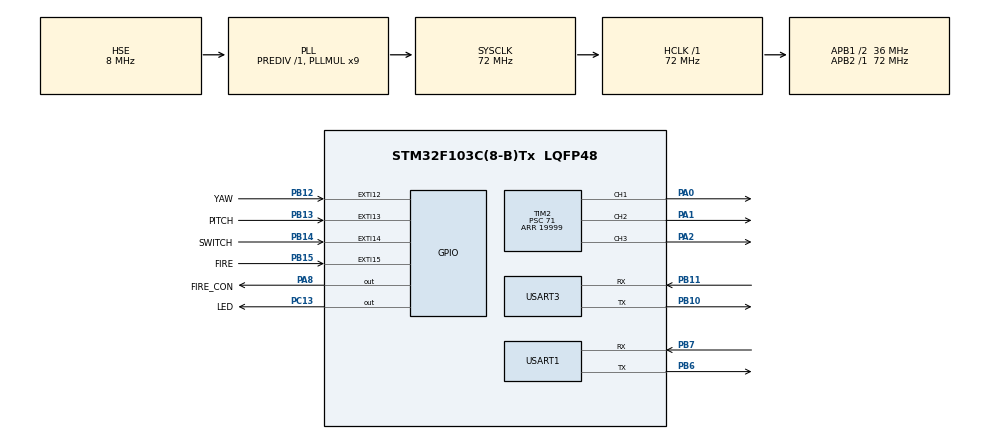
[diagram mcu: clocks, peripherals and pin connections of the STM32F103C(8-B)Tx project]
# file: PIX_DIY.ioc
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Dma.Request0=USART3_RX
Dma.USART3_RX.0.Direction=DMA_PERIPH_TO_MEMORY
Dma.USART3_RX.0.Instance=DMA1_Channel3
Dma.USART3_RX.0.MemDataAlignment=DMA_MDATAALIGN_BYTE
Dma.USART3_RX.0.MemInc=DMA_MINC_ENABLE
Dma.USART3_RX.0.Mode=DMA_CIRCULAR
Dma.USART3_RX.0.PeriphDataAlignment=DMA_PDATAALIGN_BYTE
Dma.USART3_RX.0.PeriphInc=DMA_PINC_DISABLE
Dma.USART3_RX.0.Priority=DMA_PRIORITY_LOW
Mcu.Family=STM32F1
Mcu.Name=STM32F103C(8-B)Tx
Mcu.Package=LQFP48
NVIC.DMA1_Channel3_IRQn=true\:0\:0\:false\:false\:true\:false\:true
NVIC.EXTI15_10_IRQn=true\:0\:0\:true\:false\:true\:true\:true
NVIC.PriorityGroup=NVIC_PRIORITYGROUP_3
NVIC.TIM2_IRQn=true\:1\:0\:true\:false\:true\:true\:true
NVIC.TIM4_IRQn=true\:0\:0\:false\:false\:true\:false\:true
NVIC.TimeBase=TIM4_IRQn
NVIC.TimeBaseIP=TIM4
NVIC.USART1_IRQn=true\:0\:0\:false\:false\:true\:true\:true
NVIC.USART3_IRQn=true\:0\:0\:false\:false\:true\:true\:true
PA0-WKUP.Signal=S_TIM2_CH1_ETR
PA1.Signal=S_TIM2_CH2
PA13.Mode=Serial_Wire
PA13.Signal=SYS_JTMS-SWDIO
PA14.Mode=Serial_Wire
PA14.Signal=SYS_JTCK-SWCLK
PA2.Signal=S_TIM2_CH3
PA8.GPIO_Label=FIRE_CON
PA8.PinState=GPIO_PIN_RESET
PA8.Signal=GPIO_Output
PB10.Mode=Asynchronous
PB10.Signal=USART3_TX
PB11.Mode=Asynchronous
PB11.Signal=USART3_RX
PB12.GPIO_Label=YAW
PB12.GPIO_PuPd=GPIO_PULLDOWN
PB12.Signal=GPXTI12
PB13.GPIO_Label=PITCH
PB13.GPIO_PuPd=GPIO_PULLDOWN
PB13.Signal=GPXTI13
PB14.GPIO_Label=SWITCH
PB14.GPIO_PuPd=GPIO_PULLDOWN
PB14.Signal=GPXTI14
PB15.GPIO_Label=FIRE
PB15.GPIO_PuPd=GPIO_PULLDOWN
PB15.Signal=GPXTI15
PB6.Mode=Asynchronous
PB6.Signal=USART1_TX
PB7.Mode=Asynchronous
PB7.Signal=USART1_RX
PC13-TAMPER-RTC.GPIO_Label=LED
PC13-TAMPER-RTC.PinState=GPIO_PIN_SET
PC13-TAMPER-RTC.Signal=GPIO_Output
PD0-OSC_IN.Mode=HSE-External-Oscillator
PD0-OSC_IN.Signal=RCC_OSC_IN
PD1-OSC_OUT.Mode=HSE-External-Oscillator
PD1-OSC_OUT.Signal=RCC_OSC_OUT
ProjectManager.HeapSize=0x200
ProjectManager.StackSize=0x400
ProjectManager.TargetToolchain=MDK-ARM V5
RCC.AHBFreq_Value=72000000
RCC.APB1CLKDivider=RCC_HCLK_DIV2
RCC.APB1Freq_Value=36000000
RCC.APB1TimFreq_Value=72000000
RCC.APB2Freq_Value=72000000
RCC.APB2TimFreq_Value=72000000
RCC.HCLKFreq_Value=72000000
RCC.PLLMUL=RCC_PLL_MUL9
RCC.PLLSourceVirtual=RCC_PLLSOURCE_HSE
RCC.SYSCLKFreq_VALUE=72000000
RCC.SYSCLKSource=RCC_SYSCLKSOURCE_PLLCLK
RCC.USBFreq_Value=72000000
SH.S_TIM2_CH1_ETR.0=TIM2_CH1,PWM Generation1 CH1
SH.S_TIM2_CH2.0=TIM2_CH2,PWM Generation2 CH2
SH.S_TIM2_CH3.0=TIM2_CH3,PWM Generation3 CH3
TIM2.AutoReloadPreload=TIM_AUTORELOAD_PRELOAD_ENABLE
TIM2.Channel-PWM\ Generation1\ CH1=TIM_CHANNEL_1
TIM2.Channel-PWM\ Generation2\ CH2=TIM_CHANNEL_2
TIM2.Channel-PWM\ Generation3\ CH3=TIM_CHANNEL_3
TIM2.Period=19999
TIM2.Prescaler=71
TIM2.Pulse-PWM\ Generation1\ CH1=1000
TIM2.Pulse-PWM\ Generation2\ CH2=1000
TIM2.Pulse-PWM\ Generation3\ CH3=1000
USART1.VirtualMode=VM_ASYNC
USART3.VirtualMode=VM_ASYNC
VP_SYS_VS_tim4.Mode=TIM4
VP_TIM2_VS_ClockSourceINT.Mode=Internal
board=custom

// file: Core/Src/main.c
/* USER CODE BEGIN Header */
/**
  ******************************************************************************
  * @file           : main.c
  * @brief          : Main program body
  ******************************************************************************
  * @attention
  *
  * <h2><center>&copy; Copyright (c) 2020 STMicroelectronics.
  * All rights reserved.</center></h2>
  *
  * This software component is licensed by ST under BSD 3-Clause license,
  * the "License"; You may not use this file except in compliance with the
  * License. You may obtain a copy of the License at:
  *                        opensource.org/licenses/BSD-3-Clause
  *
  ******************************************************************************
  */
/* USER CODE END Header */

#include "main.h"
#include "dma.h"
#include "tim.h"
#include "usart.h"
#include "gpio.h"

/* USER CODE BEGIN Includes */
#include <stdio.h>
#include <string.h>
/* USER CODE END Includes */

void SystemClock_Config(void);
/* USER CODE BEGIN PFP */

#define PITCH_READ  HAL_GPIO_ReadPin(PITCH_GPIO_Port, PITCH_Pin)
#define YAW_READ  HAL_GPIO_ReadPin(YAW_GPIO_Port, YAW_Pin)
#define SWITCH_READ  HAL_GPIO_ReadPin(SWITCH_GPIO_Port, SWITCH_Pin)
#define FIRE_READ  HAL_GPIO_ReadPin(FIRE_GPIO_Port, FIRE_Pin)
#define FIRE_OFF HAL_GPIO_WritePin(FIRE_CON_GPIO_Port, FIRE_CON_Pin, GPIO_PIN_RESET)
#define FIRE_ON HAL_GPIO_WritePin(FIRE_CON_GPIO_Port, FIRE_CON_Pin, GPIO_PIN_SET)

#define PITCH_CON(value) __HAL_TIM_SET_COMPARE(&htim2,TIM_CHANNEL_1,value)
#define YAW_CON(value) __HAL_TIM_SET_COMPARE(&htim2,TIM_CHANNEL_2,value)

uint8_t pitch_flag = 0, yaw_flag = 0, switch_flag = 0, fire_flag = 0, counter=0;
uint16_t pitch_sig = 0, yaw_sig = 0, switch_sig = 0, fire_sig = 0;

uint16_t pitch_pwm = 1500, yaw_pwm = 1500;
int16_t pitch_fix = 0, yaw_fix = 0;

uint8_t RxBuffer[8] = {0};
uint8_t Rx_flag = 0, mode_last = 0, fire_last = 0;
uint16_t blob_x = 0, blob_y = 0;

uint32_t time1_s = 0;
int32_t time2_s = 0;

void Delay_us(int16_t nus);

/* USER CODE END PFP */

int main(void)
{
  /* USER CODE BEGIN 1 */

	/*
		pwm脉宽：1200->1.22ms 1000->1.02ms (+20us)
	*/

  /* USER CODE END 1 */

  /* MCU Configuration--------------------------------------------------------*/

  /* Reset of all peripherals, Initializes the Flash interface and the Systick. */
  HAL_Init();

  /* Configure the system clock */
  SystemClock_Config();

  /* Initialize all configured peripherals */
  MX_GPIO_Init();
  MX_DMA_Init();
  MX_TIM2_Init();
  MX_USART1_UART_Init();
  MX_USART3_UART_Init();
  /* USER CODE BEGIN 2 */
	printf("=========================\n");
	printf("Designed and made by HUAN & PIECE in 2020.10 at SWU.\n");
	printf("All rights reserved.\nHello from SWU! :-)\n");
	printf("=========================\n");
//	HAL_Delay(18000);
	My_UART_DMA_Init();

	HAL_TIM_PWM_Start(&htim2,TIM_CHANNEL_1);
	HAL_TIM_PWM_Start(&htim2,TIM_CHANNEL_2);
	HAL_TIM_PWM_Start(&htim2,TIM_CHANNEL_3);
	__HAL_TIM_SET_COMPARE(&htim2, TIM_CHANNEL_1, 1500);  // pitch
	__HAL_TIM_SET_COMPARE(&htim2, TIM_CHANNEL_2, 1500);  // yaw
	__HAL_TIM_SET_COMPARE(&htim2, TIM_CHANNEL_3, 1500);  // NC
	HAL_TIM_Base_Start_IT(&htim2);

	printf("Initing ok!\n");
  /* USER CODE END 2 */

  /* Infinite loop */
  while (1)
  {

    /* USER CODE BEGIN 3 */

		if(counter==0)
		{
			pitch_flag = 0;
			counter++;
		}
		else if(counter==1)
		{
			yaw_flag = 0;
			counter++;
		}
		else if(counter==2)
		{
			switch_flag = 0;
			counter++;
		}
		else if(counter==3)
		{
			fire_flag = 0;
			counter=0;
		}
		if(pitch_sig > 2500) pitch_sig = 1500;
		if(yaw_sig > 2500) yaw_sig = 1500;
		if(switch_sig > 2500) switch_sig = 0;
		if(fire_sig > 2500) fire_sig = 0;

		if(switch_sig > 1250)  // 1000 auto mode
		{
			HAL_GPIO_WritePin(LED_GPIO_Port, LED_Pin,GPIO_PIN_SET);

			if(mode_last == 1)
			{
				pitch_pwm = 1500;
				yaw_pwm = 1500;
				FIRE_OFF;
			}
			mode_last = 0;

			if(Rx_flag == 1)
			{
				if(RxBuffer[1] == 0)
				{
					blob_x = RxBuffer[2] * 100 + RxBuffer[3] * 10 + RxBuffer[4];
					blob_y = RxBuffer[5] * 100 + RxBuffer[6] * 10 + RxBuffer[7];
					pitch_fix = -(120 - blob_y) / 6;
					yaw_fix = (160 - blob_x) / 35;
				}
				Rx_flag = 0;
				time1_s = 0;

				if((blob_x-160<=5 || blob_x-160>=-5) && (blob_y-120<=3 || blob_y-120>=-3))
				{
					if(fire_last == 0)
					{
						fire_last = 1;
						time2_s = 0;
					}
					if(time2_s >= 2 && time2_s < 4)
					{
						FIRE_ON;
					}
					else if(time2_s >= 4)
					{
						FIRE_OFF;
						fire_last = 0;
					}
				}
			}
			else
			{
				if(time1_s >= 4)
				{
					pitch_pwm = 1500;
					yaw_pwm = 1500;
				}
			}
		}
		else if(switch_sig < 1250)   // 1500 relative manul mode
		{
			HAL_GPIO_WritePin(LED_GPIO_Port, LED_Pin,GPIO_PIN_RESET);
			if(mode_last == 0)
			{
				pitch_pwm = 1500;
				yaw_pwm = 1500;
				FIRE_OFF;
			}
			mode_last = 1;
			pitch_fix = (pitch_sig - 1500) / 20;
			yaw_fix = (1500 - yaw_sig) / 60;
			if(fire_sig >= 800&& fire_sig <= 1200)
				FIRE_OFF;
			else if (fire_sig >= 1800 && fire_sig <= 2200)
				FIRE_ON;
		}

		if(pitch_pwm > 2000) pitch_pwm = 2000;
		else if(pitch_pwm < 1000) pitch_pwm = 1000;
		if(yaw_pwm > 2000) yaw_pwm = 2000;
		else if(yaw_pwm < 1000) yaw_pwm = 1000;

		PITCH_CON(pitch_pwm);
		YAW_CON(yaw_pwm);
  }
  /* USER CODE END 3 */
}

void SystemClock_Config(void)
{
  RCC_OscInitTypeDef RCC_OscInitStruct = {0};
  RCC_ClkInitTypeDef RCC_ClkInitStruct = {0};

  /** Initializes the CPU, AHB and APB busses clocks
  */
  RCC_OscInitStruct.OscillatorType = RCC_OSCILLATORTYPE_HSE;
  RCC_OscInitStruct.HSEState = RCC_HSE_ON;
  RCC_OscInitStruct.HSEPredivValue = RCC_HSE_PREDIV_DIV1;
  RCC_OscInitStruct.HSIState = RCC_HSI_ON;
  RCC_OscInitStruct.PLL.PLLState = RCC_PLL_ON;
  RCC_OscInitStruct.PLL.PLLSource = RCC_PLLSOURCE_HSE;
  RCC_OscInitStruct.PLL.PLLMUL = RCC_PLL_MUL9;
  if (HAL_RCC_OscConfig(&RCC_OscInitStruct) != HAL_OK)
  {
    Error_Handler();
  }
  /** Initializes the CPU, AHB and APB busses clocks
  */
  RCC_ClkInitStruct.ClockType = RCC_CLOCKTYPE_HCLK|RCC_CLOCKTYPE_SYSCLK
                              |RCC_CLOCKTYPE_PCLK1|RCC_CLOCKTYPE_PCLK2;
  RCC_ClkInitStruct.SYSCLKSource = RCC_SYSCLKSOURCE_PLLCLK;
  RCC_ClkInitStruct.AHBCLKDivider = RCC_SYSCLK_DIV1;
  RCC_ClkInitStruct.APB1CLKDivider = RCC_HCLK_DIV2;
  RCC_ClkInitStruct.APB2CLKDivider = RCC_HCLK_DIV1;

  if (HAL_RCC_ClockConfig(&RCC_ClkInitStruct, FLASH_LATENCY_2) != HAL_OK)
  {
    Error_Handler();
  }
}

/* USER CODE BEGIN 4 */

void HAL_GPIO_EXTI_Callback(uint16_t GPIO_Pin)
{
	if((GPIO_Pin == PITCH_Pin) || (GPIO_Pin == YAW_Pin) || (GPIO_Pin == SWITCH_Pin) || (GPIO_Pin == FIRE_Pin))
	{
		// TODO 三路信号可能不会同时到达！直接延时800us可能出错
		Delay_us(799);
		if(pitch_flag == 0 && PITCH_READ == GPIO_PIN_SET)	pitch_sig = 800;

		if(yaw_flag == 0 && YAW_READ == GPIO_PIN_SET)	yaw_sig = 800;

		if(switch_flag == 0 && SWITCH_READ == GPIO_PIN_SET)	switch_sig = 800;

		if(fire_flag == 0 && FIRE_READ == GPIO_PIN_SET)	fire_sig = 800;

		while((pitch_flag == 0) || (yaw_flag == 0) || (switch_flag == 0) || (fire_flag == 0))
		{
			Delay_us(18);
			if((pitch_flag == 0) && (PITCH_READ == GPIO_PIN_SET))
				pitch_sig += 20;
			else
				pitch_flag = 1;

			if((yaw_flag == 0) && (YAW_READ == GPIO_PIN_SET))
				yaw_sig += 20;
			else
				yaw_flag = 1;

			if((switch_flag == 0) && (SWITCH_READ == GPIO_PIN_SET))
				switch_sig += 20;
			else
				switch_flag = 1;

			if((fire_flag == 0) && (FIRE_READ == GPIO_PIN_SET))
				fire_sig += 20;
			else
				fire_flag = 1;

		}
	}
}

/*
	HAL_Delay重定义，保留原有功能，并消除+1ms误差
*/
void HAL_Delay(uint32_t Delay)
{
  uint32_t tickstart = HAL_GetTick();
  uint32_t wait = Delay;
	if (wait == 0)
	{
		wait += 1U;
	}
  while ((HAL_GetTick() - tickstart) < wait)
  {
  }
}

/*
	us延时函数，存在误差(~1us)
*/
void Delay_us(int16_t nus)
{
  int32_t temp;
  SysTick->LOAD = nus*9; //72MHz
  SysTick->VAL=0X00;
  SysTick->CTRL=0X01;
  do
  {
    temp=SysTick->CTRL;
  }
  while((temp&0x01)&&(!(temp&(1<<16))));

  SysTick->CTRL=0x00;
  SysTick->VAL =0X00;
}

int fputc(int ch, FILE *f)
{
  HAL_UART_Transmit(&huart1, (uint8_t *)&ch, 1, 0xffff);
  return ch;
}
int fgetc(FILE *f)
{
  uint8_t ch = 0;
  HAL_UART_Receive(&huart1, &ch, 1, 0xffff);
  return ch;
}

/* USER CODE END 4 */

 /**
  * @brief  Period elapsed callback in non blocking mode
  * @note   This function is called  when TIM4 interrupt took place, inside
  * HAL_TIM_IRQHandler(). It makes a direct call to HAL_IncTick() to increment
  * a global variable "uwTick" used as application time base.
  * @param  htim : TIM handle
  * @retval None
  */
void HAL_TIM_PeriodElapsedCallback(TIM_HandleTypeDef *htim)
{
  /* USER CODE BEGIN Callback 0 */
	static uint16_t tick = 0;
  /* USER CODE END Callback 0 */
  if (htim->Instance == TIM4) {
    HAL_IncTick();
  }
  /* USER CODE BEGIN Callback 1 */
	else if (htim->Instance == TIM2)  // 20ms
	{
//		printf("%d %d %d %d\n", pitch_sig, yaw_sig, switch_sig, fire_sig);
//		printf("x: %d\ty: %d\n", blob_x, blob_y);
		pitch_pwm += pitch_fix; pitch_fix = 0;
		yaw_pwm += yaw_fix; yaw_fix = 0;
		tick++;
		if(tick == 50)
		{
			tick = 0;
			time1_s++;
			time2_s++;
		}
	}
  /* USER CODE END Callback 1 */
}

void Error_Handler(void)
{
}

/************************ (C) COPYRIGHT STMicroelectronics *****END OF FILE****/
